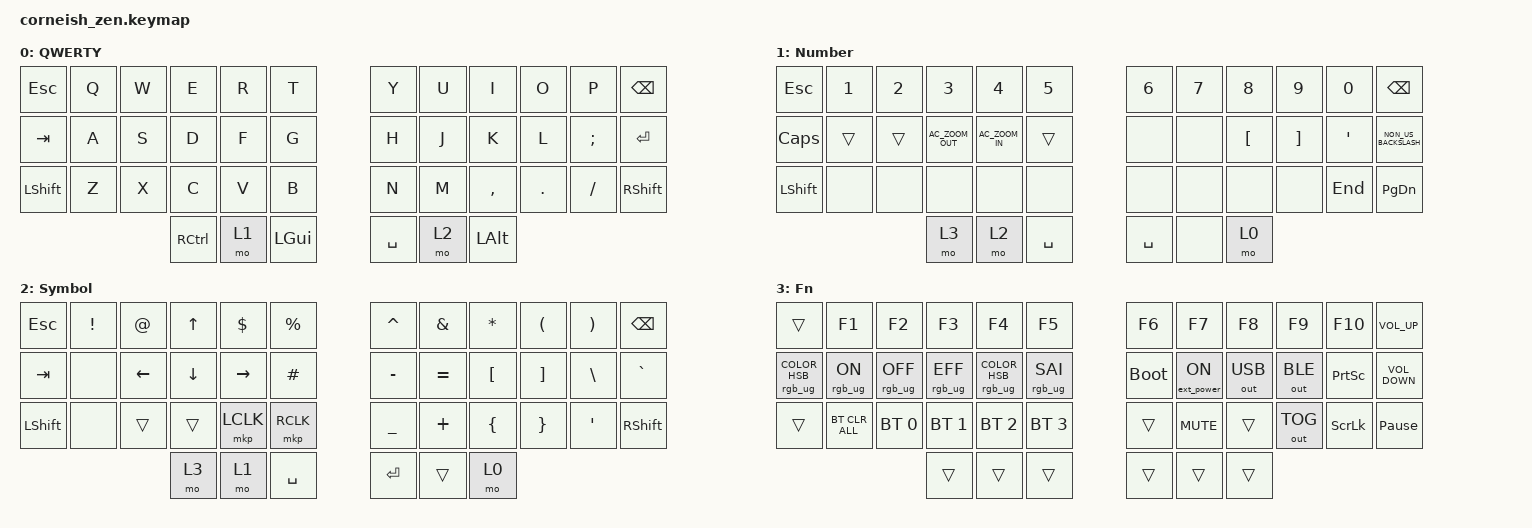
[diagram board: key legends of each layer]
/*
 * Copyright (c) 2020 The ZMK Contributors
 *
 * SPDX-License-Identifier: MIT
 */

#include <dt-bindings/zmk/mouse.h>
#include <behaviors.dtsi>
#include <dt-bindings/zmk/bt.h>
#include <dt-bindings/zmk/ext_power.h>
#include <dt-bindings/zmk/keys.h>
#include <dt-bindings/zmk/outputs.h>
#include <dt-bindings/zmk/rgb.h>

/ {
    chosen {
        zmk,matrix_transform = &default_transform;

        // zmk,matrix_transform = &five_column_transform;
    };
};

/ {
    behaviors {
        td0: td0 {
            compatible = "zmk,behavior-tap-dance";
            label = "TD0";
            #binding-cells = <0>;
            bindings = <&kp LEFT_SHIFT>, <&kp CAPS>;
        };
    };

    combos {
        compatible = "zmk,combos";

        ALT {
            bindings = <&kp LEFT_ALT>;
            key-positions = <36 38>;
        };

        enter {
            bindings = <&kp ENTER>;
            key-positions = <38 17>;
        };

        mo3 {
            bindings = <&mo 3>;
            key-positions = <40 41>;
        };
    };

    keymap {
        compatible = "zmk,keymap";

        default_layer {
            display-name = "QWERTY";

            // --------------------------------------------------------------------------------
            // |  TAB |  Q  |  W  |  E  |  R  |  T  |   |  Y  |  U   |  I  |  O  |  P  | BKSP |
            // | CTRL |  A  |  S  |  D  |  F  |  G  |   |  H  |  J   |  K  |  L  |  ;  |  '   | 
            // | SHFT |  Z  |  X  |  C  |  V  |  B  |   |  N  |  M   |  ,  |  .  |  /  | ESC  |
            //                    | GUI | LWR | SPC |   | ENT | RSE  | ALT |

            bindings = <
&kp ESCAPE      &kp Q  &kp W  &kp E              &kp R  &kp T           &kp Y      &kp U  &kp I         &kp O    &kp P     &kp BSPC
&kp TAB         &kp A  &kp S  &kp D              &kp F  &kp G           &kp H      &kp J  &kp K         &kp L    &kp SEMI  &kp ENTER
&kp LEFT_SHIFT  &kp Z  &kp X  &kp C              &kp V  &kp B           &kp N      &kp M  &kp COMMA     &kp DOT  &kp FSLH  &kp RIGHT_SHIFT
                              &kp RIGHT_CONTROL  &mo 1  &kp LEFT_GUI    &kp SPACE  &mo 2  &kp LEFT_ALT
            >;
        };

        lower_layer {
            display-name = "Number";

            // -----------------------------------------------------------------------------------------
            // |  TAB |  1  |  2  |  3  |  4  |  5  |   |  6  |  7  |  8  |  9  |  0  | BKSP |
            // | BTCLR| BT1 | BT2 | BT3 | BT4 | BT5 |   | LFT | DWN |  UP | RGT |     |      |
            // | SHFT |     |     |     |     |     |   |     |     |     |     |     |      |
            //                    | GUI |     | SPC |   | ENT |     | ALT |

            bindings = <
&kp ESCAPE  &kp N1  &kp N2  &kp N3             &kp N4            &kp N5       &kp N6     &kp N7  &kp N8            &kp N9             &kp N0            &kp BSPC
&kp CAPS    &trans  &trans  &kp C_AC_ZOOM_OUT  &kp C_AC_ZOOM_IN  &trans       &none      &none   &kp LEFT_BRACKET  &kp RIGHT_BRACKET  &kp SINGLE_QUOTE  &kp NON_US_BACKSLASH
&kp LSHFT   &none   &none   &none              &none             &none        &none      &none   &none             &none              &kp END           &kp PG_DN
                            &mo 3              &mo 2             &kp SPACE    &kp SPACE  &none   &mo 0
            >;
        };

        raise_layer {
            display-name = "Symbol";

            // -----------------------------------------------------------------------------------------
            // |  TAB |  !  |  @  |  #  |  $  |  %  |   |  ^  |  &  |  *  |  (  |  )  | BKSP |
            // | CTRL |     |     |     |     |     |   |  -  |  =  |  [  |  ]  |  \  |  `   |
            // | SHFT |     |     |     |     |     |   |  _  |  +  |  {  |  }  | "|" |  ~   |
            //                    | GUI |     | SPC |   | ENT |     | ALT |

            bindings = <
&kp ESCAPE      &kp EXCL  &kp AT          &kp UP_ARROW    &kp DLLR         &kp PRCNT    &kp CARET  &kp AMPS   &kp ASTRK  &kp LPAR  &kp RPAR          &kp BSPC
&kp TAB         &none     &kp LEFT_ARROW  &kp DOWN_ARROW  &kp RIGHT_ARROW  &kp HASH     &kp MINUS  &kp EQUAL  &kp LBKT   &kp RBKT  &kp BSLH          &kp GRAVE
&kp LEFT_SHIFT  &none     &trans          &trans          &mkp LCLK        &mkp RCLK    &kp UNDER  &kp PLUS   &kp LBRC   &kp RBRC  &kp SINGLE_QUOTE  &kp RIGHT_SHIFT
                                          &mo 3           &mo 1            &kp SPACE    &kp RET    &trans     &mo 0
            >;
        };

        Fn {
            display-name = "Fn";
            bindings = <
&trans                             &kp F1          &kp F2           &kp F3           &kp F4                              &kp F5             &kp F6       &kp F7            &kp F8        &kp F9        &kp F10          &kp C_VOLUME_UP
&rgb_ug RGB_COLOR_HSB(164,100,46)  &rgb_ug RGB_ON  &rgb_ug RGB_OFF  &rgb_ug RGB_EFF  &rgb_ug RGB_COLOR_HSB(255,255,255)  &rgb_ug RGB_SAI    &bootloader  &ext_power EP_ON  &out OUT_USB  &out OUT_BLE  &kp PRINTSCREEN  &kp C_VOLUME_DOWN
&trans                             &bt BT_CLR_ALL  &bt BT_SEL 0     &bt BT_SEL 1     &bt BT_SEL 2                        &bt BT_SEL 3       &trans       &kp C_MUTE        &trans        &out OUT_TOG  &kp SCROLLLOCK   &kp PAUSE_BREAK
                                                                    &trans           &trans                              &trans             &trans       &trans            &trans
            >;
        };
    };
};
